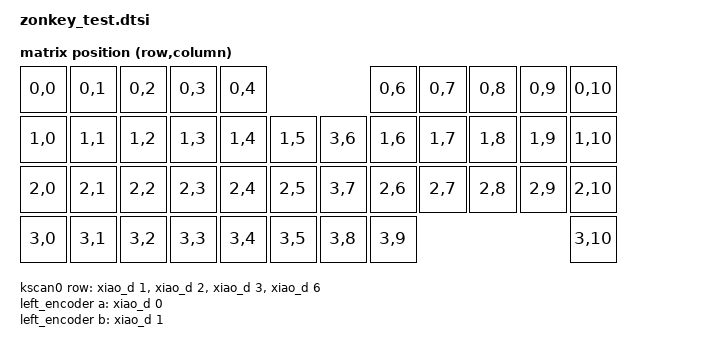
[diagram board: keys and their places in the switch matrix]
#include <dt-bindings/zmk/matrix_transform.h>
#include <dt-bindings/zmk/input_transform.h>
#include <dt-bindings/zmk/pointing.h>

/ {
    chosen {
        zmk,kscan = &kscan0;
        zmk,matrix_transform = &default_transform;
    };

    default_transform: keymap_transform_0 {
        compatible = "zmk,matrix-transform";
        columns = <11>;
        rows = <4>;                
        map = <
            RC(0,0) RC(0,1) RC(0,2) RC(0,3) RC(0,4)                     RC(0,6) RC(0,7) RC(0,8) RC(0,9) RC(0,10)
            RC(1,0) RC(1,1) RC(1,2) RC(1,3) RC(1,4) RC(1,5)     RC(3,6) RC(1,6) RC(1,7) RC(1,8) RC(1,9) RC(1,10)
            RC(2,0) RC(2,1) RC(2,2) RC(2,3) RC(2,4) RC(2,5)     RC(3,7) RC(2,6) RC(2,7) RC(2,8) RC(2,9) RC(2,10)
            RC(3,0) RC(3,1) RC(3,2) RC(3,3) RC(3,4) RC(3,5)     RC(3,8) RC(3,9)                         RC(3,10)          
        >;
    };
    
    kscan0: kscan {
        compatible = "zmk,kscan-gpio-matrix";
        diode-direction = "col2row";
        row-gpios
            = <&xiao_d 1 (GPIO_ACTIVE_HIGH | GPIO_PULL_DOWN)> 
            , <&xiao_d 2 (GPIO_ACTIVE_HIGH | GPIO_PULL_DOWN)> 
            , <&xiao_d 3 (GPIO_ACTIVE_HIGH | GPIO_PULL_DOWN)> 
            , <&xiao_d 6 (GPIO_ACTIVE_HIGH | GPIO_PULL_DOWN)>             
            ;
    };

    /* ここに left_encoder というラベル（名前）を定義します */
    left_encoder: left_encoder {
        compatible = "alps,ec11";
        a-gpios = <&xiao_d 0 (GPIO_ACTIVE_HIGH | GPIO_PULL_UP)>;
        b-gpios = <&xiao_d 1 (GPIO_ACTIVE_HIGH | GPIO_PULL_UP)>;
        steps = <80>;
        status = "disabled";
    };

    trackpad_listener: trackpad_listener {
        compatible = "zmk,input-behavior-listener";
        device = <&trackpad>;
        layers = <0>;
        evt-type = <0x02>;       /* INPUT_EV_REL */
        x-input-code = <0x00>;   /* INPUT_REL_X */
        y-input-code = <0x01>;   /* INPUT_REL_Y */
        scale-multiplier = <1>;
        scale-divisor = <1>;
    };
};

&i2c0 {
    status = "okay";
    trackpad: trackpad@2a {
        compatible = "cirque,pinnacle";
        reg = <0x2a>;
        dr-gpios = <&xiao_d 7 GPIO_ACTIVE_HIGH>; /* カッコを外しました */
        sensitivity = "1x";                     /* 数値に変更しました */
        sleep;
    };
};
